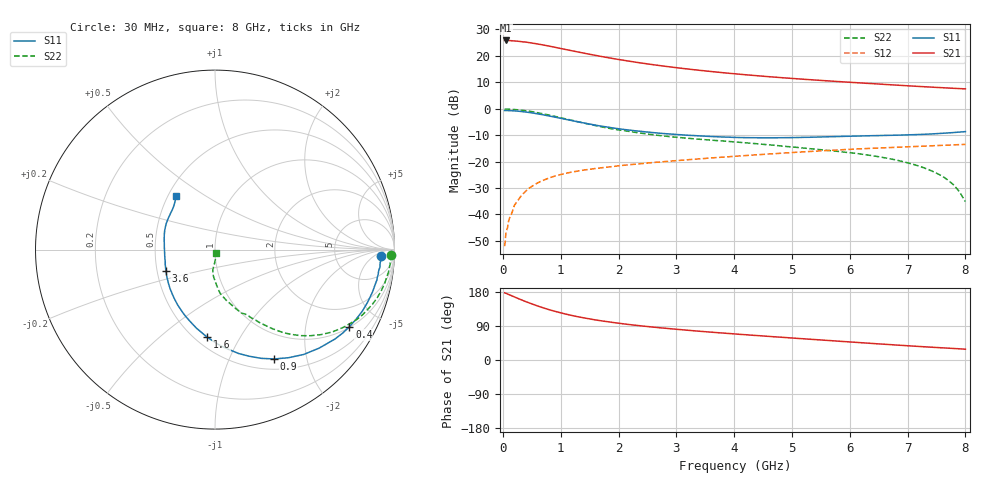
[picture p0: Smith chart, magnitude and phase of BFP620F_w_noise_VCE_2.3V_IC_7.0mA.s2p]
! Infineon Technologies  Discrete & RF Semiconductors
! BFP620F
! VCE =  2.3 V,  IC =  7.0 mA
! Common Emitter S-Parameters:  Dec 2014
# GHz  S  MA  R  50
!  f  S11  S21  S12  S22
! GHz  MAG  ANG  MAG  ANG  MAG  ANG  MAG  ANG
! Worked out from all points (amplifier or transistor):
!   95 points, 30 MHz to 8 GHz, reference 50 ohm
!   highest |S21| = 25.8 dB at 60 MHz (marker M1)
!   |S21| within 3 dB of that: start of sweep to 992.5 MHz
!   unconditionally stable (mu >= 1): 4.429 GHz to end of sweep
!   at 300 MHz: K = 0.17, MSG = 29.5 dB, |S12| = -33.5 dB
!   at 3.3 GHz: K = 0.91, MSG = 17.0 dB, |S12| = -19.2 dB
!   at 8 GHz: K = 1.11, MAG = 8.5 dB, |S12| = -13.5 dB
!   lowest NFmin = 0.55 dB at 450 MHz
!   S11 on the Smith chart (normalised r, x): 30 MHz: 21, -10; 400 MHz: 1.02, -3.46; 900 MHz: 0.63, -1.48; 1.6 GHz: 0.57, -0.73; 3.6 GHz: 0.56, -0.14; 8 GHz: 0.55, +0.38
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0.03  0.9244 -2.2  19.55 177.4  0.0025 59.8  0.98 -1.6
0.06  0.9231 -4.6  19.58 175.7  0.0048 68.3  0.9801 -3.2
0.13  0.9173 -9.9  19.45 171.0  0.0095 75.7  0.9752 -7.2
0.2  0.9085 -15.2  19.15 166.5  0.0149 78.1  0.9644 -11.0
0.25  0.8996 -18.9  18.98 163.1  0.0177 76.3  0.955 -13.7
0.4  0.8634 -29.9  18.22 153.8  0.0278 71.8  0.9131 -21.5
0.6  0.7989 -43.4  16.81 142.6  0.0394 66.9  0.8392 -30.9
0.8  0.7278 -55.9  15.31 132.8  0.0489 61.8  0.7575 -38.7
0.9  0.6926 -61.6  14.54 128.5  0.0531 59.5  0.7157 -42.1
1.1  0.624 -72.2  13.1 120.7  0.0602 56.0  0.637 -47.9
1.3  0.5624 -82.0  11.84 114.1  0.066 53.3  0.5663 -52.6
1.4  0.5373 -86.6  11.26 111.2  0.0689 52.4  0.5359 -54.6
1.6  0.4887 -95.3  10.23 105.8  0.0738 50.6  0.4801 -58.4
1.9  0.4328 -106.9  8.919 99.1  0.0803 48.9  0.4129 -63.3
2.1  0.4039 -114.4  8.21 95.1  0.0852 47.6  0.3843 -67.2
2.7  0.3447 -133.4  6.582 85.3  0.0978 45.6  0.3115 -74.5
3.6  0.2977 -156.6  5.06 73.5  0.1168 43.0  0.2542 -82.0
4.1  0.2847 -167.8  4.489 67.7  0.1277 41.4  0.2309 -84.6
5.4  0.2901 167.5  3.488 53.9  0.157 36.4  0.1716 -90.4
6.7  0.3135 146.0  2.841 40.6  0.184 29.9  0.1125 -95.9
7.6  0.3422 131.2  2.497 32.1  0.2025 25.6  0.053 -87.6
8  0.3685 126.3  2.372 28.5  0.2111 23.4  0.0174 -69.1
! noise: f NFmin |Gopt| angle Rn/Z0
0.45  0.55  0.38  9  0.25
0.9  0.61  0.35  19  0.22
1.5  0.68  0.32  24  0.19
1.8  0.71  0.3  27  0.18
1.9  0.72  0.25  40  0.19
2.4  0.77  0.22  56  0.17
3.5  0.88  0.21  75  0.14
5.5  1.08  0.14  162  0.12
6  1.12  0.11  185  0.21
